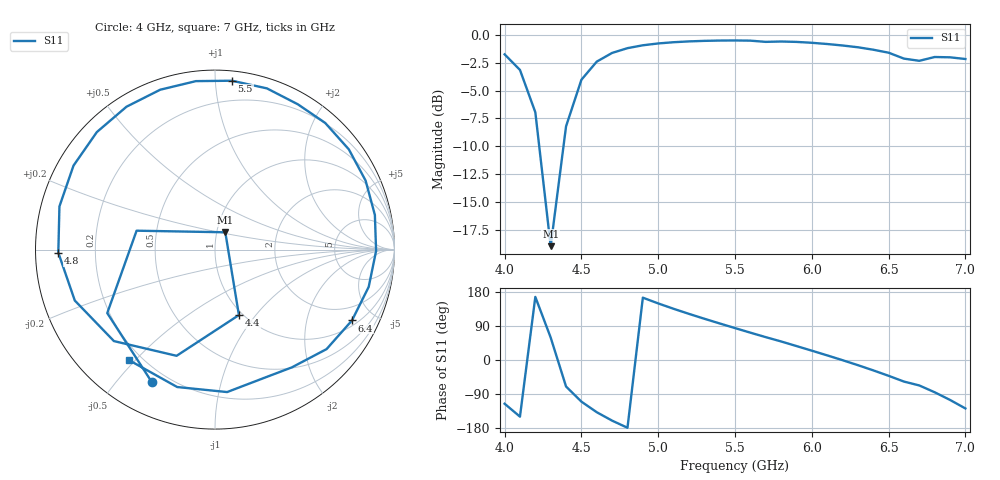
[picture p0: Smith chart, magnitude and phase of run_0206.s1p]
! Touchstone file exported from HFSS 2024.2.0
!  File:  C:/Users/wsak9/Desktop/Sim Fast/Widenad Patch/WP_AI_V1_sweep.aedt
!  Generated:  11:33:49 PM Oct 13, 2026
!  Design:  A1_model
!  Project:  WP_AI_V1_sweep
!  Setup:  Setup1
!  Solution:  Sweep
! Variables:
!  Air_gap = 1.56mm
!  Curve_Amp1 = 1.59
!  Curve_len1 = 1
!  Curve_pos = 12.555mm
!  Extra = 5.93mm
!  H_sub = 0.79mm
!  L_Patch = 21.11mm
!  L_Patch1 = 16.01mm
!  Sx = 1.47mm
!  Sy = 3.76mm
!  WS = 0.87mm
!  W_Patch = 22.97mm
!  W_Patch1 = 10.08mm
!Data is not renormalized
# GHz S MA
! Terminal data exported
! Port[1] = 1
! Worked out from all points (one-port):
!   31 points, 4 GHz to 7 GHz, reference per port
!   lowest |S11| = -19.0 dB at 4.3 GHz (marker M1), VSWR 1.25
!   |S11| at or under -10 dB: 4.225 GHz to 4.383 GHz (158.1 MHz wide, 3.67 % of centre)
!   S11 on the Smith chart (normalised r, x): 4 GHz: 0.14, -0.62; 4.4 GHz: 0.96, -0.82; 4.8 GHz: 0.07, -0.01; 5.5 GHz: 0.06, +1.10; 6.4 GHz: 1.24, -3.73; 7 GHz: 0.15, -0.48
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4  0.8189 -115.4
4.1  0.6968 -149.5
4.2  0.4494 166.4
4.3  0.1123 59.2
4.4  0.3883 -69.9
4.5  0.6293 -109.9
4.6  0.7595 -137.8
4.7  0.8311 -160.0
4.8  0.8731 -178.8
4.9  0.8995 164.5
5  0.9168 149.3
5.2  0.9364 121.8
5.3  0.9416 108.9
5.4  0.9446 96.5
5.5  0.9456 84.3
5.6  0.9437 72.2
5.7  0.9319 60.3
5.9  0.9316 36.8
6.1  0.9115 12.2
6.2  0.8976 -0.5
6.3  0.8812 -13.6
6.4  0.8592 -27.3
6.5  0.833 -41.7
6.6  0.7834 -56.9
6.7  0.7659 -67.2
6.8  0.7966 -85.1
6.9  0.7941 -105.4
7  0.7803 -127.8
